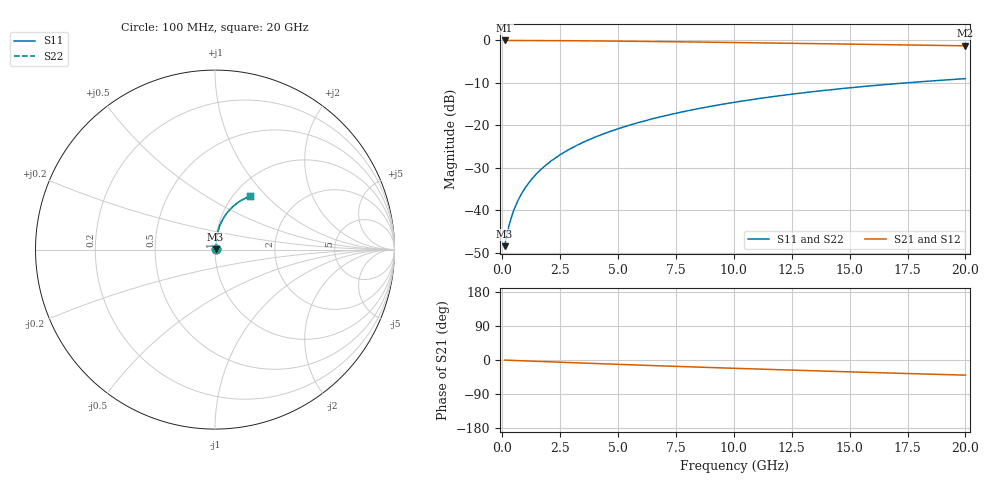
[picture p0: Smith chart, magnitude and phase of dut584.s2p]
! Touchstone file exported from HFSS 2024.1.0
!  File:  C:/UserFiles/LocalFiles/RDL_TSV_Batchsim/temp_RDL_bottom_584_1779690764.aedt
!  Generated:  02:35:19 PM May 25, 2026
!  Design:  RDL_bottom
!  Project:  temp_RDL_bottom_584_1779690764
!  Setup:  Setup1
!  Solution:  Sweep
! Variables:
!  dtsv = 10.80580581um
!  hbump = 3um
!  htsv = 94.64um
!  ldown = 584.6um
!  lrdl = 100um
!  p = 40
!  p1 = 43.09um
!  rhole = 1um
!  t = 450um
!  tdown = 3.46um
!  trdl = 3.915915916um
!  wdown = 19.69um
!  wrdl = 20um
# GHz S MA R 50.000000
! Terminal data exported
! Port[1] = RDL1_T1
! Port[2] = RDL1_T2
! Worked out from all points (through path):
!   200 points, 100 MHz to 20 GHz, reference 50 ohm
!   highest |S21| = -0.03 dB at 100 MHz (marker M1); lowest = -1.3 dB at 20 GHz (marker M2)
!   group delay of S21, straight-line fit = 5.52 ps
!   lowest |S11| = -48.4 dB at 100 MHz (marker M3), VSWR 1.01, Z = 50.3 + j0.2 ohm
!   |S11| at or under -10 dB: start of sweep to 17.46 GHz
!   |S22| runs from -48.4 to -9.0 dB; largest |S21 - S12| = 2.1e-15
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0.1  0.003783 31.7  0.9968 -0.2  0.9968 -0.2  0.003783 31.7
! Gamma 0 0 0 0
! Port Impedance 50 0 50 0
0.2  0.005155 49.3  0.9966 -0.5  0.9966 -0.5  0.005155 49.3
0.3  0.006747 58.5  0.9964 -0.7  0.9964 -0.7  0.006747 58.5
0.4  0.008391 64.0  0.9962 -1.0  0.9962 -1.0  0.008391 64.0
0.5  0.01005 67.8  0.9961 -1.2  0.9961 -1.2  0.01005 67.8
0.6  0.01172 70.5  0.9959 -1.4  0.9959 -1.4  0.01172 70.5
0.8  0.0151 74.2  0.9956 -1.9  0.9956 -1.9  0.0151 74.2
1.1  0.02026 77.6  0.9951 -2.6  0.9951 -2.6  0.02026 77.6
1.3  0.02374 79.0  0.9947 -3.1  0.9947 -3.1  0.02374 79.0
1.6  0.02901 80.4  0.994 -3.8  0.994 -3.8  0.02901 80.4
2.1  0.03789 81.7  0.9926 -4.9  0.9926 -4.9  0.03789 81.7
2.7  0.04867 82.4  0.9905 -6.3  0.9905 -6.3  0.04867 82.4
3.5  0.06324 82.5  0.9871 -8.2  0.9871 -8.2  0.06324 82.5
4.2  0.07617 82.2  0.9835 -9.7  0.9835 -9.7  0.07616 82.2
5  0.09111 81.6  0.979 -11.5  0.979 -11.5  0.0911 81.6
5.9  0.1081 80.7  0.9733 -13.5  0.9733 -13.5  0.1081 80.7
6.8  0.1253 79.6  0.9671 -15.4  0.9671 -15.4  0.1252 79.5
8.4  0.1558 77.2  0.9555 -18.7  0.9555 -18.7  0.1558 77.2
10.1  0.1881 74.4  0.9424 -22.1  0.9424 -22.1  0.1881 74.4
13.4  0.2485 68.6  0.916 -28.4  0.916 -28.4  0.2484 68.5
16.7  0.3043 62.6  0.8891 -34.3  0.8891 -34.3  0.3041 62.6
20  0.3542 56.9  0.8624 -40.0  0.8624 -40.0  0.354 56.9
